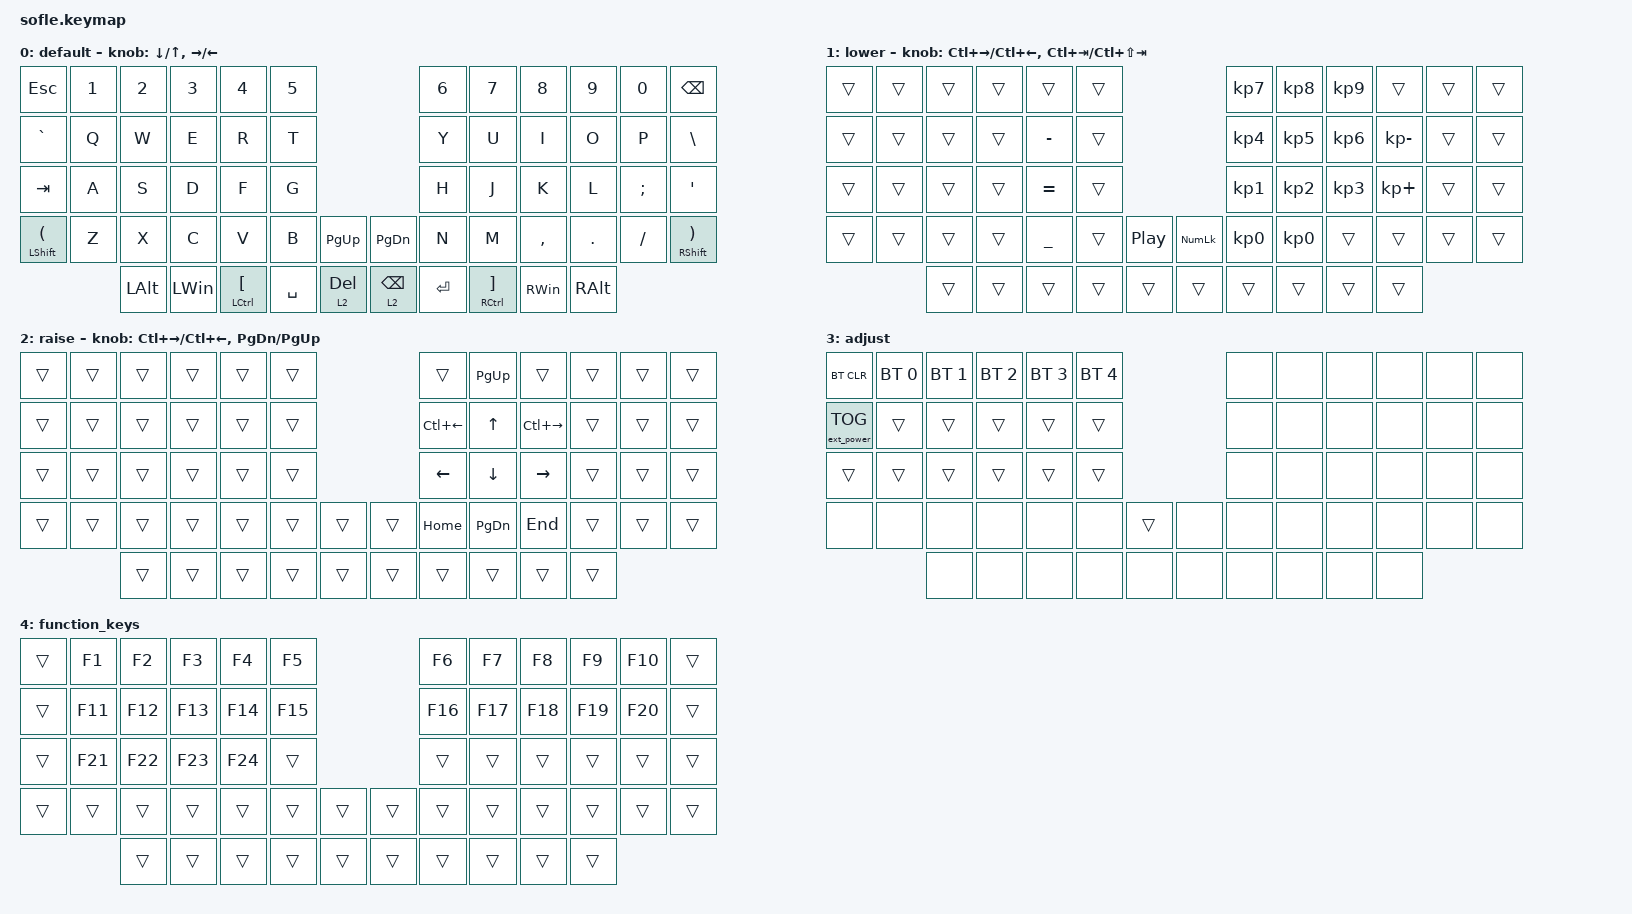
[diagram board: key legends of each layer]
/*
 * Copyright (c) 2020 The ZMK Contributors
 *
 * SPDX-License-Identifier: MIT
 */

#include <behaviors.dtsi>
#include <dt-bindings/zmk/bt.h>
#include <dt-bindings/zmk/ext_power.h>
#include <dt-bindings/zmk/keys.h>

#define BASE 0
#define LOWER 1
#define RAISE 2
#define ADJUST 3

&mt { tapping-term-ms = <150>; };

&caps_word { continue-list = <UNDERSCORE BACKSPACE DELETE MINUS>; };

&lt { tapping-term-ms = <150>; };

&sensors { triggers-per-rotation = <36>; };

/ {
    // Activate ADJUST layer by pressing raise and lower

    conditional_layers {
        compatible = "zmk,conditional-layers";

        adjust_layer {
            if-layers = <LOWER RAISE>;
            then-layer = <ADJUST>;
        };
    };

    combos {
        compatible = "zmk,combos";

        Capsword {
            bindings = <&caps_word>;
            key-positions = <36 49>;
        };

        function_switch {
            bindings = <&mo 4>;
            key-positions = <53 54>;
        };

        underscore {
            bindings = <&kp UNDERSCORE>;
            key-positions = <40 39 38>;
        };

        equals {
            bindings = <&kp EQUAL>;
            key-positions = <14 15 16>;
        };

        minus {
            bindings = <&kp MINUS>;
            key-positions = <26 27 28>;
        };

        adjust_switch {
            bindings = <&mo 3>;
            key-positions = <55 56>;
        };
    };

    keymap {
        compatible = "zmk,keymap";

        default_layer {
            display-name = "default";
            bindings = <
&kp ESC         &kp N1  &kp N2    &kp N3    &kp N4          &kp N5                                     &kp N6     &kp N7          &kp N8     &kp N9    &kp N0    &kp BSPC
&kp GRAVE       &kp Q   &kp W     &kp E     &kp R           &kp T                                      &kp Y      &kp U           &kp I      &kp O     &kp P     &kp BSLH
&kp TAB         &kp A   &kp S     &kp D     &kp F           &kp G                                      &kp H      &kp J           &kp K      &kp L     &kp SEMI  &kp SQT
&mt LSHFT LPAR  &kp Z   &kp X     &kp C     &kp V           &kp B      &kp PAGE_UP    &kp PAGE_DOWN    &kp N      &kp M           &kp COMMA  &kp DOT   &kp FSLH  &mt RSHFT RPAR
                        &kp LALT  &kp LWIN  &mt LCTRL LBKT  &kp SPACE  &lt 2 DEL      &lt 2 BACKSPACE  &kp ENTER  &mt RCTRL RBKT  &kp RWIN   &kp RALT
            >;

            sensor-bindings = <&inc_dec_kp DOWN UP>, <&inc_dec_kp RIGHT LEFT>;
        };

        symb_numpad {
            display-name = "lower";
            bindings = <
&trans  &trans  &trans  &trans  &trans          &trans                                      &kp KP_NUMBER_7  &kp KP_N8  &kp KP_N9  &trans        &trans  &trans
&trans  &trans  &trans  &trans  &kp MINUS       &trans                                      &kp KP_N4        &kp KP_N5  &kp KP_N6  &kp KP_MINUS  &trans  &trans
&trans  &trans  &trans  &trans  &kp EQUAL       &trans                                      &kp KP_N1        &kp KP_N2  &kp KP_N3  &kp KP_PLUS   &trans  &trans
&trans  &trans  &trans  &trans  &kp UNDERSCORE  &trans  &kp C_PLAY_PAUSE    &kp KP_NUMLOCK  &kp KP_N0        &kp KP_N0  &trans     &trans        &trans  &trans
                &trans  &trans  &trans          &trans  &trans              &trans          &trans           &trans     &trans     &trans
            >;

            sensor-bindings =
                <&inc_dec_kp LC(RIGHT) LC(LEFT)>,
                <&inc_dec_kp LC(TAB) LC(LS(TAB))>;
        };

        navigation {
            display-name = "raise";
            bindings = <
&trans  &trans  &trans  &trans  &trans  &trans                    &trans        &kp PG_UP  &trans         &trans  &trans  &trans
&trans  &trans  &trans  &trans  &trans  &trans                    &kp LC(LEFT)  &kp UP     &kp LC(RIGHT)  &trans  &trans  &trans
&trans  &trans  &trans  &trans  &trans  &trans                    &kp LEFT      &kp DOWN   &kp RIGHT      &trans  &trans  &trans
&trans  &trans  &trans  &trans  &trans  &trans  &trans    &trans  &kp HOME      &kp PG_DN  &kp END        &trans  &trans  &trans
                &trans  &trans  &trans  &trans  &trans    &trans  &trans        &trans     &trans         &trans
            >;

            sensor-bindings =
                <&inc_dec_kp LC(RIGHT) LC(LEFT)>,
                <&inc_dec_kp PAGE_DOWN PAGE_UP>;
        };

        adjust_layer {
            display-name = "adjust";
            bindings = <
&bt BT_CLR         &bt BT_SEL 0  &bt BT_SEL 1  &bt BT_SEL 2  &bt BT_SEL 3  &bt BT_SEL 4                   &none  &none  &none  &none  &none  &none
&ext_power EP_TOG  &trans        &trans        &trans        &trans        &trans                         &none  &none  &none  &none  &none  &none
&trans             &trans        &trans        &trans        &trans        &trans                         &none  &none  &none  &none  &none  &none
&none              &none         &none         &none         &none         &none         &trans    &none  &none  &none  &none  &none  &none  &none
                                 &none         &none         &none         &none         &none     &none  &none  &none  &none  &none
            >;
        };

        function_keys {
            bindings = <
&trans  &kp F1   &kp F2   &kp F3   &kp F4   &kp F5                     &kp F6   &kp F7   &kp F8   &kp F9   &kp F10  &trans
&trans  &kp F11  &kp F12  &kp F13  &kp F14  &kp F15                    &kp F16  &kp F17  &kp F18  &kp F19  &kp F20  &trans
&trans  &kp F21  &kp F22  &kp F23  &kp F24  &trans                     &trans   &trans   &trans   &trans   &trans   &trans
&trans  &trans   &trans   &trans   &trans   &trans   &trans    &trans  &trans   &trans   &trans   &trans   &trans   &trans
                 &trans   &trans   &trans   &trans   &trans    &trans  &trans   &trans   &trans   &trans
            >;
        };
    };
};
